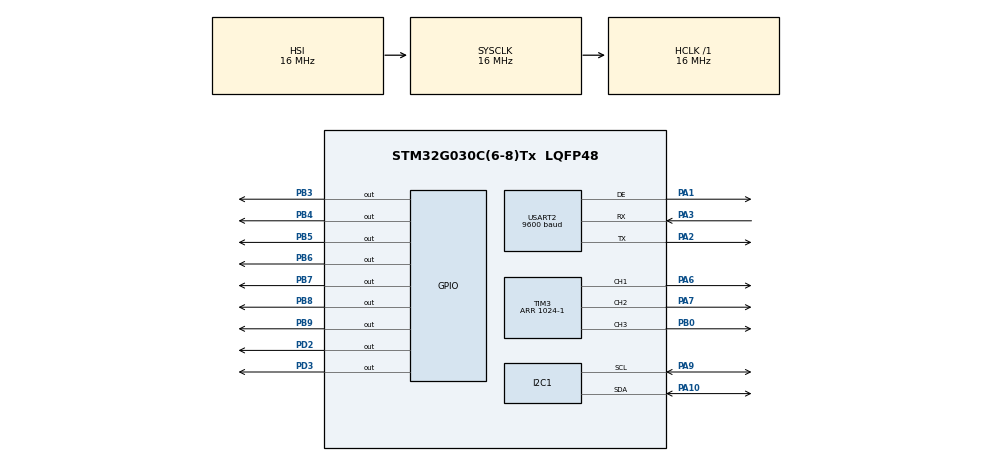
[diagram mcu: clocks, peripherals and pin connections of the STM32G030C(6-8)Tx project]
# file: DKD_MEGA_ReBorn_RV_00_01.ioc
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I2C1.Timing=0x00503D58
Mcu.Family=STM32G0
Mcu.Name=STM32G030C(6-8)Tx
Mcu.Package=LQFP48
NVIC.I2C1_IRQn=true\:0\:0\:false\:false\:true\:true\:true\:true
NVIC.TIM3_IRQn=true\:0\:0\:false\:false\:true\:true\:true\:true
NVIC.USART2_IRQn=true\:0\:0\:false\:false\:true\:true\:true\:true
PA1.Mode=Hardware Flow Control (RS485)
PA1.Signal=USART2_DE
PA10.Mode=I2C
PA10.Signal=I2C1_SDA
PA13.Mode=Serial_Wire
PA13.Signal=SYS_SWDIO
PA14-BOOT0.Mode=Serial_Wire
PA14-BOOT0.Signal=SYS_SWCLK
PA2.Mode=Asynchronous
PA2.Signal=USART2_TX
PA3.Mode=Asynchronous
PA3.Signal=USART2_RX
PA6.Signal=S_TIM3_CH1
PA7.Signal=S_TIM3_CH2
PA9.Mode=I2C
PA9.Signal=I2C1_SCL
PB0.Signal=S_TIM3_CH3
PB3.Signal=GPIO_Output
PB4.Signal=GPIO_Output
PB5.Signal=GPIO_Output
PB6.Signal=GPIO_Output
PB7.Signal=GPIO_Output
PB8.Signal=GPIO_Output
PB9.Signal=GPIO_Output
PD2.Signal=GPIO_Output
PD3.Signal=GPIO_Output
ProjectManager.HeapSize=0x200
ProjectManager.StackSize=0x400
ProjectManager.TargetToolchain=STM32CubeIDE
RCC.AHBFreq_Value=16000000
RCC.CortexFreq_Value=16000000
RCC.EXTERNAL_CLOCK_VALUE=12288000
RCC.HCLKFreq_Value=16000000
RCC.HSE_VALUE=8000000
RCC.HSI_VALUE=16000000
RCC.LSE_VALUE=32768
RCC.SYSCLKFreq_VALUE=16000000
RCC.VCOOutputFreq_Value=128000000
SH.S_TIM3_CH1.0=TIM3_CH1,PWM Generation1 CH1
SH.S_TIM3_CH2.0=TIM3_CH2,PWM Generation2 CH2
SH.S_TIM3_CH3.0=TIM3_CH3,PWM Generation3 CH3
TIM3.Channel-PWM\ Generation1\ CH1=TIM_CHANNEL_1
TIM3.Channel-PWM\ Generation2\ CH2=TIM_CHANNEL_2
TIM3.Channel-PWM\ Generation3\ CH3=TIM_CHANNEL_3
TIM3.Period=1024-1
TIM3.Pulse-PWM\ Generation1\ CH1=1024-1
TIM3.Pulse-PWM\ Generation2\ CH2=1024-1
TIM3.Pulse-PWM\ Generation3\ CH3=1024-1
USART2.BaudRate=9600
USART2.VirtualMode-Asynchronous=VM_ASYNC
USART2.VirtualMode-Hardware\ Flow\ Control\ (RS485)=VM_ASYNC
VP_TIM3_VS_ClockSourceINT.Mode=Internal
board=custom

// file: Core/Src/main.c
/* USER CODE BEGIN Header */
/**
 ******************************************************************************
 * @file           : main.c
 * @brief          : Main program body
 ******************************************************************************
 * @attention
 *
 * Copyright (c) 2025 STMicroelectronics.
 * All rights reserved.
 *
 * This software is licensed under terms that can be found in the LICENSE file
 * in the root directory of this software component.
 * If no LICENSE file comes with this software, it is provided AS-IS.
 *
 ******************************************************************************
 */
/* USER CODE END Header */
// #include "cmsis_os2.h"
#include "main.h"
#include "i2c.h"
#include "tim.h"
#include "usart.h"
#include "gpio.h"

/* USER CODE BEGIN Includes */
#include <stdio.h>
#include <math.h>
#include "my_struct.h"
// #include "Sen_AS7343.h"
#include "Sen_TCS34725.h"
#include "RGB_led.h"
#include "GUI_Comm.h"
#include "Pump.h"
#include "Memory.h"
#include "Std_hard_vals.h"
/* USER CODE END Includes */

/* USER CODE BEGIN PD */

#define ARC_CAL
// #define OLD_CAL

#define TM_MULTIPLIER 20

#define FLASH_OVER_WRITE
#define MEM_ID1 0xAA
#define MEM_ID2 0x55
/* USER CODE END PD */

/* USER CODE BEGIN PV */
sys_var_typdef sys_info;
union_bk_var_typdef save_sys_info;
double factor_value = 1.0; // Adjust this value as needed for calibration

/* USER CODE END PV */

void SystemClock_Config(void);
/* USER CODE BEGIN PFP */
void sys_mem_validate(void);
void auto_zero_adjust(unn_std_var_typdef *opt_std_vars);
// void value_calculation2(void);
// void value_calculation(void);
void cal_result(void);
void auto_set_adjust(void);
void PHOS_value_calculation2(unn_std_var_typdef *opt_std_vars);
void SUL_value_calculation1(unn_std_var_typdef *opt_std_vars);
void NIT_value_calculation1(unn_std_var_typdef *opt_std_vars);
void POT_value_calculation1(unn_std_var_typdef *opt_std_vars);
// void ZIN_value_calculation1(unn_std_var_typdef *opt_std_vars);

/* USER CODE END PFP */

/* USER CODE BEGIN 0 */
// drift% scaled by 100 (e.g., -377 = -3.77%) with rounding to nearest hundredth
static int16_t cal_drift_pct(uint16_t new_val, uint16_t old_val)
{
	int32_t delta = (int32_t)new_val - (int32_t)old_val;
	int32_t div = (int32_t)old_val;
	int32_t p = delta * 10000L;
	if (p >= 0)
	{
		p += div / 2;
	}
	else
	{
		p -= div / 2;
	}
	return (int16_t)(p / div);
}
/* USER CODE END 0 */

int main(void)
{

	/* MCU Configuration--------------------------------------------------------*/

	/* Reset of all peripherals, Initializes the Flash interface and the Systick. */
	HAL_Init();

	/* USER CODE BEGIN Init */
	//  osKernelInitialize();
	/* USER CODE END Init */

	/* Configure the system clock */
	SystemClock_Config();

	/* Initialize all configured peripherals */
	MX_GPIO_Init();		   // motors
	MX_I2C1_Init();		   // sensor
	MX_TIM3_Init();		   // led pwm
	MX_USART2_UART_Init(); // uart rs485
	/* USER CODE BEGIN 2 */
	// HAL_Delay(100);
	Flash_Read_Data(MEM_STRT_ADD, save_sys_info.bkdata, MEM_SIZE);
	sys_mem_validate();
	TCS3472X_init(&hi2c1);
	RGB_Led_init(&htim3);
	GUI_Comm_init(&huart2);
	pump1(0);
	pump2(0);
	pump3(0);
	pump4(0);
	pump5(0);
	pump6(0);
	pump7(0);
	pump8(0);
	motor1(0);
	// PUMP1OFF;PUMP2OFF;PUMP3OFF;PUMP4OFF;PUMP5OFF;PUMP6OFF;PUMP7OFF;
	// PUMP8OFF;MOTOR1OFF;//pump & motors
	set_Chnl_PWM(sys_info.led_pwm_red, sys_info.led_pwm_green, sys_info.led_pwm_blue);

	/* USER CODE END 2 */

	/* Infinite loop */
	/* USER CODE BEGIN WHILE */
	while (1)
	{
		if ((sys_info.sys_f.mem_save == 1) && (sys_info.sys_f.comm_mode == RCV_MODE))
		{
			Flash_Write_Data(MEM_STRT_ADD, save_sys_info.bkdata, MEM_SIZE);
			sys_info.sys_f.mem_save = 0;
		}
		TCS3472X_handler();
		get_sen_stat() ? (sys_info.Stat_L.sen_stat |= 1) : (sys_info.Stat_L.sen_stat &= 0);
		if (sys_info.Stat_L.sen_stat)
		{
			get_mavg_rgbc_val(&sys_info.curr_rgbc_vars.curr_red_rcv, &sys_info.curr_rgbc_vars.curr_green_rcv, &sys_info.curr_rgbc_vars.curr_blue_rcv, &sys_info.curr_rgbc_vars.curr_clear_rcv);
			if (!sys_info.Stat_L.warm_up_stat)
			{
				if (sys_info.Stat_M.tak_data_stat)
				{
					if (sys_info.tak_data_skp_run_tm >= sys_info.tak_data_skp_tm)
					{
						if ((!sys_info.curr_ResVal) && (!sys_info.curr_Result_cat))
						{
							cal_result();
						}
						// sys_info.Stat_L.drain_wsh_stat = 1; // this is for auto drain after result
						sys_info.Stat_M.tak_data_stat = 0;
						sys_info.Stat_L.alt_func = 0;
						sys_info.tak_data_skp_run_tm = 0;
					}
				}
				if (sys_info.Stat_L.auto_zero)
				{
					if (sys_info.auto_zero_skp_run_tm >= sys_info.auto_zero_skp_tm)
					{
#ifdef ARC_CAL
						if (sys_info.Stat_L.alt_func == 0)
						{
							auto_zero_adjust(&sys_info.opt_std_vars);
							auto_zero_adjust(&sys_info.opt_std_vars2);
						}
						else if (sys_info.Stat_L.alt_func == 1)
						{
						    auto_zero_adjust(&sys_info.opt_std_vars);       // normal
							auto_zero_adjust(&sys_info.opt_std_vars2);  // acidic
							sys_info.Stat_L.alt_func = 0;
						}
						// drift% = ((NEW standard - OLD saved standard) / OLD saved standard) * 100
						// NEW = opt_std_vars (overwritten by auto_zero_adjust with live readings)
						// OLD = hrd_std_vars (hard-coded saved, unchanged during auto-zero)
//						sys_info.rgbc_drift[0] = cal_drift_pct(sys_info.opt_std_vars.stan_0_red, save_sys_info.bk_var.hrd_std_vars.stan_0_red);
//						sys_info.rgbc_drift[1] = cal_drift_pct(sys_info.opt_std_vars.stan_0_green, save_sys_info.bk_var.hrd_std_vars.stan_0_green);
//						sys_info.rgbc_drift[2] = cal_drift_pct(sys_info.opt_std_vars.stan_0_blue, save_sys_info.bk_var.hrd_std_vars.stan_0_blue);
//						sys_info.rgbc_drift[3] = cal_drift_pct(sys_info.opt_std_vars.stan_0_clear, save_sys_info.bk_var.hrd_std_vars.stan_0_clear);
#endif
						sys_info.Stat_L.auto_zero_save = 1;
						sys_info.Stat_L.alt_func = 0;
						sys_info.Stat_L.auto_zero = 0;
						// sys_info.Stat_L.drain_wsh_stat = 1;
						sys_info.auto_zero_skp_run_tm = 0;
						sys_info.curr_ResVal = 0;
						sys_info.curr_Result_cat = 0;
					}
				}
				/*if(sys_info.Stat_M2.auto_set)
				{
					if(sys_info.auto_set_skp_run_tm >= sys_info.auto_set_skp_tm)
					{
						auto_set_adjust();
						//sys_info.Stat_L.drain_wsh_stat = 1;
						sys_info.Stat_M2.auto_set = 0;
						sys_info.auto_set_skp_run_tm = 0;
					}
				}*/
			}
			else
			{
				sys_info.Stat_M.tak_data_stat = 0;
				sys_info.Stat_L.auto_zero = 0;
			}
		}
		GUI_Comm_handler();
		pump_handler(); // command lestion from GUI_Comm_handler() and pump status update to sys_info.pump_stat

		/* USER CODE END WHILE */

	}
}

void SystemClock_Config(void)
{
	RCC_OscInitTypeDef RCC_OscInitStruct = {0};
	RCC_ClkInitTypeDef RCC_ClkInitStruct = {0};

	/** Configure the main internal regulator output voltage
	 */
	HAL_PWREx_ControlVoltageScaling(PWR_REGULATOR_VOLTAGE_SCALE1);

	/** Initializes the RCC Oscillators according to the specified parameters
	 * in the RCC_OscInitTypeDef structure.
	 */
	RCC_OscInitStruct.OscillatorType = RCC_OSCILLATORTYPE_HSI;
	RCC_OscInitStruct.HSIState = RCC_HSI_ON;
	RCC_OscInitStruct.HSIDiv = RCC_HSI_DIV1;
	RCC_OscInitStruct.HSICalibrationValue = RCC_HSICALIBRATION_DEFAULT;
	RCC_OscInitStruct.PLL.PLLState = RCC_PLL_NONE;
	if (HAL_RCC_OscConfig(&RCC_OscInitStruct) != HAL_OK)
	{
		Error_Handler();
	}

	/** Initializes the CPU, AHB and APB buses clocks
	 */
	RCC_ClkInitStruct.ClockType = RCC_CLOCKTYPE_HCLK | RCC_CLOCKTYPE_SYSCLK | RCC_CLOCKTYPE_PCLK1;
	RCC_ClkInitStruct.SYSCLKSource = RCC_SYSCLKSOURCE_HSI;
	RCC_ClkInitStruct.AHBCLKDivider = RCC_SYSCLK_DIV1;
	RCC_ClkInitStruct.APB1CLKDivider = RCC_HCLK_DIV1;

	if (HAL_RCC_ClockConfig(&RCC_ClkInitStruct, FLASH_LATENCY_0) != HAL_OK)
	{
		Error_Handler();
	}
}

/* USER CODE BEGIN 4 */

void auto_set_adjust(void)
{
	float factor;
	factor = (float)sys_info.curr_rgbc_vars.curr_red_rcv / (float)sys_info.opt_std_vars.stan_4_red;
	sys_info.opt_std_vars.stan_4_red = sys_info.curr_rgbc_vars.curr_red_rcv;
	for (uint8_t i = 1; i < NOS_STD; i++)
	{
		if (i == 4)
		{
			continue;
		}
		else
		{
			sys_info.opt_std_vars.strd_vars[i][0] =
				(uint16_t)(factor * (float)sys_info.opt_std_vars.strd_vars[i][0]);
		}
	}

	factor = (float)sys_info.curr_rgbc_vars.curr_green_rcv / (float)sys_info.opt_std_vars.stan_4_green;
	sys_info.opt_std_vars.stan_4_green = sys_info.curr_rgbc_vars.curr_green_rcv;
	for (uint8_t i = 1; i < NOS_STD; i++)
	{
		if (i == 4)
		{
			continue;
		}
		else
		{
			sys_info.opt_std_vars.strd_vars[i][1] =
				(uint16_t)(factor * (float)sys_info.opt_std_vars.strd_vars[i][1]);
		}
	}

	factor = (float)sys_info.curr_rgbc_vars.curr_blue_rcv / (float)sys_info.opt_std_vars.stan_4_blue;
	sys_info.opt_std_vars.stan_4_blue = sys_info.curr_rgbc_vars.curr_blue_rcv;
	for (uint8_t i = 1; i < NOS_STD; i++)
	{
		if (i == 4)
		{
			continue;
		}
		else
		{
			sys_info.opt_std_vars.strd_vars[i][2] =
				(uint16_t)(factor * (float)sys_info.opt_std_vars.strd_vars[i][2]);
		}
	}

	factor = (float)sys_info.curr_rgbc_vars.curr_clear_rcv / (float)sys_info.opt_std_vars.stan_4_clear;
	sys_info.opt_std_vars.stan_4_clear = sys_info.curr_rgbc_vars.curr_clear_rcv;
	for (uint8_t i = 1; i < NOS_STD; i++)
	{
		if (i == 4)
		{
			continue;
		}
		else
		{
			sys_info.opt_std_vars.strd_vars[i][3] =
				(uint16_t)(factor * (float)sys_info.opt_std_vars.strd_vars[i][3]);
		}
	}
}

void PHOS_value_calculation2(unn_std_var_typdef *opt_std_vars)
{
	// sys_info.curr_rgbc_vars.curr_red_rcv = 9901;
	// sys_info.curr_rgbc_vars.curr_green_rcv = 10660;
	// sys_info.curr_rgbc_vars.curr_blue_rcv = 13163;
	// sys_info.curr_rgbc_vars.curr_clear_rcv = 3172;

	sys_info.curr_absrb_val = log10(((double)opt_std_vars->strd_vars[0][sys_info.val_cal_y] * (double)sys_info.curr_rgbc_vars.curr_rgbc_var[sys_info.val_cal_x]) / ((double)opt_std_vars->strd_vars[0][sys_info.val_cal_x] * (double)sys_info.curr_rgbc_vars.curr_rgbc_var[sys_info.val_cal_y]));
	for (uint8_t i = 0; i < NOS_STD; i++)
	{
		sys_info.std_absrb_val[i] = log10(((double)opt_std_vars->strd_vars[0][sys_info.val_cal_y] * (double)opt_std_vars->strd_vars[i][sys_info.val_cal_x]) / ((double)opt_std_vars->strd_vars[0][sys_info.val_cal_x] * (double)opt_std_vars->strd_vars[i][sys_info.val_cal_y]));
	}
	// log10( ($G$8 * J12)/($F$8 *K12))

	if (sys_info.curr_absrb_val >= sys_info.std_absrb_val[0])
	{
		sys_info.curr_ResVal = 0;
		sys_info.curr_Result_cat = 1;
	}
	else if (sys_info.curr_absrb_val >= sys_info.std_absrb_val[1])
	{
		sys_info.curr_ResVal = ((sys_info.curr_absrb_val / sys_info.std_absrb_val[1]) * sys_info.act_stan_vals[1]);
		sys_info.curr_Result_cat = 1; //////////////VERRY LOW
	}
	else if (sys_info.curr_absrb_val >= sys_info.std_absrb_val[2])
	{
		sys_info.curr_ResVal = (((sys_info.curr_absrb_val - sys_info.std_absrb_val[1]) / (sys_info.std_absrb_val[2] - sys_info.std_absrb_val[1])) * (sys_info.act_stan_vals[2] - sys_info.act_stan_vals[1]) + sys_info.act_stan_vals[1]);
		sys_info.curr_Result_cat = 1; //////////////VERRY LOW
	}
	else if (sys_info.curr_absrb_val >= sys_info.std_absrb_val[3])
	{
		sys_info.curr_ResVal = (((sys_info.curr_absrb_val - sys_info.std_absrb_val[2]) / (sys_info.std_absrb_val[3] - sys_info.std_absrb_val[2])) * (sys_info.act_stan_vals[3] - sys_info.act_stan_vals[2]) + sys_info.act_stan_vals[2]);
		sys_info.curr_Result_cat = 2; //////////////LOW
	}
	else if (sys_info.curr_absrb_val >= sys_info.std_absrb_val[4])
	{
		sys_info.curr_ResVal = (((sys_info.curr_absrb_val - sys_info.std_absrb_val[3]) / (sys_info.std_absrb_val[4] - sys_info.std_absrb_val[3])) * (sys_info.act_stan_vals[4] - sys_info.act_stan_vals[3]) + sys_info.act_stan_vals[3]);
		sys_info.curr_Result_cat = 2; //////////////LOW
	}
	else if (sys_info.curr_absrb_val >= sys_info.std_absrb_val[5])
	{
		sys_info.curr_ResVal = (((sys_info.curr_absrb_val - sys_info.std_absrb_val[4]) / (sys_info.std_absrb_val[5] - sys_info.std_absrb_val[4])) * (sys_info.act_stan_vals[5] - sys_info.act_stan_vals[4]) + sys_info.act_stan_vals[4]);
		sys_info.curr_Result_cat = 3; //////////////Medium
	}
	else if (sys_info.curr_absrb_val >= sys_info.std_absrb_val[6])
	{
		sys_info.curr_ResVal = (((sys_info.curr_absrb_val - sys_info.std_absrb_val[5]) / (sys_info.std_absrb_val[6] - sys_info.std_absrb_val[5])) * (sys_info.act_stan_vals[6] - sys_info.act_stan_vals[5]) + sys_info.act_stan_vals[5]);
		sys_info.curr_Result_cat = 3; //////////////Medium
	}
	else if (sys_info.curr_absrb_val >= sys_info.std_absrb_val[7])
	{
		sys_info.curr_ResVal = (((sys_info.curr_absrb_val - sys_info.std_absrb_val[6]) / (sys_info.std_absrb_val[7] - sys_info.std_absrb_val[6])) * (sys_info.act_stan_vals[7] - sys_info.act_stan_vals[6]) + sys_info.act_stan_vals[6]);
		sys_info.curr_Result_cat = 4; //////////////High
	}
	else if (sys_info.curr_absrb_val >= sys_info.std_absrb_val[8])
	{
		sys_info.curr_ResVal = (((sys_info.curr_absrb_val - sys_info.std_absrb_val[7]) / (sys_info.std_absrb_val[8] - sys_info.std_absrb_val[7])) * (sys_info.act_stan_vals[8] - sys_info.act_stan_vals[7]) + sys_info.act_stan_vals[7]);
		sys_info.curr_Result_cat = 4; //////////////High
	}
	else if (sys_info.curr_absrb_val >= sys_info.std_absrb_val[9])
	{
		sys_info.curr_ResVal = (((sys_info.curr_absrb_val - sys_info.std_absrb_val[8]) / (sys_info.std_absrb_val[9] - sys_info.std_absrb_val[8])) * (sys_info.act_stan_vals[9] - sys_info.act_stan_vals[8]) + sys_info.act_stan_vals[8]);
		sys_info.curr_Result_cat = 5; //////////////Verry High
	}
	else if (sys_info.curr_absrb_val >= sys_info.std_absrb_val[10])
	{
		sys_info.curr_ResVal = (((sys_info.curr_absrb_val - sys_info.std_absrb_val[9]) / (sys_info.std_absrb_val[10] - sys_info.std_absrb_val[9])) * (sys_info.act_stan_vals[10] - sys_info.act_stan_vals[9]) + sys_info.act_stan_vals[9]);
		sys_info.curr_Result_cat = 5; //////////////Verry High
	}
	else if (sys_info.curr_absrb_val < sys_info.std_absrb_val[10])
	{
		sys_info.curr_ResVal = (sys_info.act_stan_vals[10] / sys_info.std_absrb_val[10]) * (sys_info.curr_absrb_val);
		sys_info.curr_Result_cat = 5; //////////////Verry High
									  // sys_info.curr_ResVal = sys_info.act_stan_vals[10];
		// sys_info.curr_Result_cat = 5;           //////////////Verry High
	}
}

void SUL_value_calculation1(unn_std_var_typdef *opt_std_vars)
{
	// uint32_t sum_x, sum_y, sum_xy, sum_xx;
	sys_info.sum_x = 0;
	sys_info.sum_y = 0;
	sys_info.sum_xy = 0;
	sys_info.sum_xx = 0;
	uint8_t i;
	for (i = 0; i < NOS_STD; i++)
	{
		sys_info.sum_x += opt_std_vars->strd_vars[i][sys_info.val_cal_x];
		sys_info.sum_y += opt_std_vars->strd_vars[i][sys_info.val_cal_y];
		sys_info.sum_xy += opt_std_vars->strd_vars[i][sys_info.val_cal_x] * opt_std_vars->strd_vars[i][sys_info.val_cal_y];
		sys_info.sum_xx += opt_std_vars->strd_vars[i][sys_info.val_cal_x] * opt_std_vars->strd_vars[i][sys_info.val_cal_x];
	}
	sys_info.mslp = (((double)NOS_STD * (double)sys_info.sum_xy) - ((double)sys_info.sum_x * (double)sys_info.sum_y)) / (((double)NOS_STD * (double)sys_info.sum_xx) - ((double)sys_info.sum_x * (double)sys_info.sum_x));

	sys_info.cshft = ((double)sys_info.sum_y - (sys_info.mslp * (double)sys_info.sum_x)) / NOS_STD;

	for (uint8_t i = 0; i < NOS_STD; i++)
	{
		sys_info.ref_stan_x[i] = ((sys_info.mslp * ((double)opt_std_vars->strd_vars[i][sys_info.val_cal_y] - sys_info.cshft)) + (double)opt_std_vars->strd_vars[i][sys_info.val_cal_x]) / ((sys_info.mslp * sys_info.mslp) + 1);
		sys_info.ref_stan_y[i] = (sys_info.mslp * sys_info.ref_stan_x[i]) + sys_info.cshft;
		sys_info.ref_stan_dist[i] = sqrt(((sys_info.ref_stan_x[0] - sys_info.ref_stan_x[i]) * (sys_info.ref_stan_x[0] - sys_info.ref_stan_x[i])) + ((sys_info.ref_stan_y[0] - sys_info.ref_stan_y[i]) * (sys_info.ref_stan_y[0] - sys_info.ref_stan_y[i])));
	}

	// sys_info.curr_red_rcv = 16174;
	// sys_info.curr_green_rcv = 12952;
	// sys_info.curr_blue_rcv = 14442;
	// sys_info.curr_clear_rcv = 45558;
	sys_info.curr_x = ((sys_info.mslp * ((double)sys_info.curr_rgbc_vars.curr_rgbc_var[sys_info.val_cal_y] - sys_info.cshft)) + (double)sys_info.curr_rgbc_vars.curr_rgbc_var[sys_info.val_cal_x]) / ((sys_info.mslp * sys_info.mslp) + 1);
	sys_info.curr_y = (sys_info.mslp * sys_info.curr_x) + sys_info.cshft;
	sys_info.curr_dist = sqrt(((sys_info.ref_stan_x[0] - sys_info.curr_x) * (sys_info.ref_stan_x[0] - sys_info.curr_x)) + ((sys_info.ref_stan_y[0] - sys_info.curr_y) * (sys_info.ref_stan_y[0] - sys_info.curr_y)));

	if (sys_info.curr_dist <= sys_info.ref_stan_dist[0])
	{
		sys_info.curr_ResVal = 0;
		sys_info.curr_Result_cat = 1;
	}
	else if (sys_info.curr_dist <= sys_info.ref_stan_dist[1])
	{
		sys_info.curr_ResVal = ((sys_info.curr_dist / sys_info.ref_stan_dist[1]) * sys_info.act_stan_vals[1]);
		sys_info.curr_Result_cat = 1; //////////////VERRY LOW
	}
	else if (sys_info.curr_dist <= sys_info.ref_stan_dist[2])
	{
		sys_info.curr_ResVal = (((sys_info.curr_dist - sys_info.ref_stan_dist[1]) / (sys_info.ref_stan_dist[2] - sys_info.ref_stan_dist[1])) * (sys_info.act_stan_vals[2] - sys_info.act_stan_vals[1]) + sys_info.act_stan_vals[1]);
		sys_info.curr_Result_cat = 1; //////////////VERRY LOW
	}
	else if (sys_info.curr_dist <= sys_info.ref_stan_dist[3])
	{
		sys_info.curr_ResVal = (((sys_info.curr_dist - sys_info.ref_stan_dist[2]) / (sys_info.ref_stan_dist[3] - sys_info.ref_stan_dist[2])) * (sys_info.act_stan_vals[3] - sys_info.act_stan_vals[2]) + sys_info.act_stan_vals[2]);
		sys_info.curr_Result_cat = 2; //////////////LOW
	}
	else if (sys_info.curr_dist <= sys_info.ref_stan_dist[4])
	{
		sys_info.curr_ResVal = (((sys_info.curr_dist - sys_info.ref_stan_dist[3]) / (sys_info.ref_stan_dist[4] - sys_info.ref_stan_dist[3])) * (sys_info.act_stan_vals[4] - sys_info.act_stan_vals[3]) + sys_info.act_stan_vals[3]);
		sys_info.curr_Result_cat = 2; //////////////LOW
	}
	else if (sys_info.curr_dist <= sys_info.ref_stan_dist[5])
	{
		sys_info.curr_ResVal = (((sys_info.curr_dist - sys_info.ref_stan_dist[4]) / (sys_info.ref_stan_dist[5] - sys_info.ref_stan_dist[4])) * (sys_info.act_stan_vals[5] - sys_info.act_stan_vals[4]) + sys_info.act_stan_vals[4]);
		sys_info.curr_Result_cat = 3; //////////////Medium
	}
	else if (sys_info.curr_dist <= sys_info.ref_stan_dist[6])
	{
		sys_info.curr_ResVal = (((sys_info.curr_dist - sys_info.ref_stan_dist[5]) / (sys_info.ref_stan_dist[6] - sys_info.ref_stan_dist[5])) * (sys_info.act_stan_vals[6] - sys_info.act_stan_vals[5]) + sys_info.act_stan_vals[5]);
		sys_info.curr_Result_cat = 3; //////////////Medium
	}
	else if (sys_info.curr_dist <= sys_info.ref_stan_dist[7])
	{
		sys_info.curr_ResVal = (((sys_info.curr_dist - sys_info.ref_stan_dist[6]) / (sys_info.ref_stan_dist[7] - sys_info.ref_stan_dist[6])) * (sys_info.act_stan_vals[7] - sys_info.act_stan_vals[6]) + sys_info.act_stan_vals[6]);
		sys_info.curr_Result_cat = 4; //////////////High
	}
	else if (sys_info.curr_dist <= sys_info.ref_stan_dist[8])
	{
		sys_info.curr_ResVal = (((sys_info.curr_dist - sys_info.ref_stan_dist[7]) / (sys_info.ref_stan_dist[8] - sys_info.ref_stan_dist[7])) * (sys_info.act_stan_vals[8] - sys_info.act_stan_vals[7]) + sys_info.act_stan_vals[7]);
		sys_info.curr_Result_cat = 4; //////////////High
	}
	else if (sys_info.curr_dist <= sys_info.ref_stan_dist[9])
	{
		sys_info.curr_ResVal = (((sys_info.curr_dist - sys_info.ref_stan_dist[8]) / (sys_info.ref_stan_dist[9] - sys_info.ref_stan_dist[8])) * (sys_info.act_stan_vals[9] - sys_info.act_stan_vals[8]) + sys_info.act_stan_vals[8]);
		sys_info.curr_Result_cat = 5; //////////////Verry High
	}
	else if (sys_info.curr_dist <= sys_info.ref_stan_dist[10])
	{
		sys_info.curr_ResVal = (((sys_info.curr_dist - sys_info.ref_stan_dist[9]) / (sys_info.ref_stan_dist[10] - sys_info.ref_stan_dist[9])) * (sys_info.act_stan_vals[10] - sys_info.act_stan_vals[9]) + sys_info.act_stan_vals[9]);
		sys_info.curr_Result_cat = 5; //////////////Verry High
	}
	else if (sys_info.curr_dist > sys_info.ref_stan_dist[10])
	{
		sys_info.curr_ResVal = ((sys_info.act_stan_vals[10] / sys_info.ref_stan_dist[10]) * (sys_info.curr_dist - sys_info.ref_stan_dist[10])) + sys_info.act_stan_vals[10];
		sys_info.curr_Result_cat = 5; //////////////Verry High
									  // sys_info.curr_ResVal = sys_info.act_stan_vals[10];
		// sys_info.curr_Result_cat = 5;           //////////////Verry High
	}
}

void NIT_value_calculation3(unn_std_var_typdef *opt_std_vars)
{

	double absrb0, absrb1, absrb2, absrb3, avg_absrb;
	double std_absrb_val_mul_sum, std_absrb_sqr_sum;
	std_absrb_val_mul_sum = 0;
	std_absrb_sqr_sum = 0;
	sys_info.std_multplr = 0;
	for (uint8_t i = 0; i < NOS_STD; i++)
	{
		absrb0 = log10((double)opt_std_vars->stan_0_red / (double)opt_std_vars->strd_vars[i][0]);
		absrb1 = log10((double)opt_std_vars->stan_0_green / (double)opt_std_vars->strd_vars[i][1]);
		absrb2 = log10((double)opt_std_vars->stan_0_blue / (double)opt_std_vars->strd_vars[i][2]);
		absrb3 = log10((double)opt_std_vars->stan_0_clear / (double)opt_std_vars->strd_vars[i][3]);
		avg_absrb = (absrb0 + absrb1 + absrb2 + absrb3) / 4.00;
		// sys_info.std_absrb_val_mul[i] = (avg_absrb * (double)sys_info.act_stan_vals[i]);
		// sys_info.std_absrb_sqr[i] = (avg_absrb * avg_absrb);
		std_absrb_val_mul_sum = std_absrb_val_mul_sum + (avg_absrb * (double)sys_info.act_stan_vals[i]);
		std_absrb_sqr_sum = std_absrb_sqr_sum + (avg_absrb * avg_absrb);
	}

	sys_info.std_multplr = std_absrb_val_mul_sum / std_absrb_sqr_sum; // constant factor

	absrb0 = log10((double)opt_std_vars->stan_0_red / (double)sys_info.curr_rgbc_vars.curr_red_rcv);
	absrb1 = log10((double)opt_std_vars->stan_0_green / (double)sys_info.curr_rgbc_vars.curr_green_rcv);
	absrb2 = log10((double)opt_std_vars->stan_0_blue / (double)sys_info.curr_rgbc_vars.curr_blue_rcv);
	absrb3 = log10((double)opt_std_vars->stan_0_clear / (double)sys_info.curr_rgbc_vars.curr_clear_rcv);
	avg_absrb = (absrb0 + absrb1 + absrb2 + absrb3) / 4;

	sys_info.curr_ResVal = avg_absrb * sys_info.std_multplr;

	if (sys_info.curr_ResVal <= sys_info.act_stan_vals[0])
	{
		sys_info.curr_ResVal = sys_info.act_stan_vals[0];
		sys_info.curr_Result_cat = 1;
	}
	else if (sys_info.curr_ResVal <= sys_info.act_stan_vals[1])
	{
		sys_info.curr_Result_cat = 1; //////////////VERRY LOW
	}
	else if (sys_info.curr_ResVal <= sys_info.act_stan_vals[2])
	{
		sys_info.curr_Result_cat = 1; //////////////VERRY LOW
	}
	else if (sys_info.curr_ResVal <= sys_info.act_stan_vals[3])
	{
		sys_info.curr_Result_cat = 2; //////////////LOW
	}
	else if (sys_info.curr_ResVal <= sys_info.act_stan_vals[4])
	{
		sys_info.curr_Result_cat = 2; //////////////LOW
	}
	else if (sys_info.curr_ResVal <= sys_info.act_stan_vals[5])
	{
		sys_info.curr_Result_cat = 3; //////////////Medium
	}
	else if (sys_info.curr_ResVal <= sys_info.act_stan_vals[6])
	{
		sys_info.curr_Result_cat = 3; //////////////Medium
	}
	else if (sys_info.curr_ResVal <= sys_info.act_stan_vals[7])
	{
		sys_info.curr_Result_cat = 4; //////////////High
	}
	else if (sys_info.curr_ResVal <= sys_info.act_stan_vals[8])
	{
		sys_info.curr_Result_cat = 4; //////////////High
	}
	else if (sys_info.curr_ResVal <= sys_info.act_stan_vals[9])
	{
		sys_info.curr_Result_cat = 5; //////////////Verry High
	}
	else if (sys_info.curr_ResVal <= sys_info.act_stan_vals[10])
	{
		sys_info.curr_Result_cat = 5; //////////////Verry High
	}
	else if (sys_info.curr_ResVal > sys_info.act_stan_vals[10])
	{
		sys_info.curr_Result_cat = 5; //////////////Verry High
									  // sys_info.curr_ResVal = sys_info.act_stan_vals[10];
		// sys_info.curr_Result_cat = 5;           //////////////Verry High
	}
}

/* noipa prevents GCC identical-code-folding from aliasing POT_value_calculation5 to NIT_value_calculation3 (identical algorithm duplicates) */
void __attribute__((noipa)) POT_value_calculation5(unn_std_var_typdef *opt_std_vars)
{

	double absrb0, absrb1, absrb2, absrb3, avg_absrb;
	double std_absrb_val_mul_sum, std_absrb_sqr_sum;
	std_absrb_val_mul_sum = 0;
	std_absrb_sqr_sum = 0;
	sys_info.std_multplr = 0;
	for (uint8_t i = 0; i < NOS_STD; i++)
	{                         //opt_std_vars->stan_0_red
		absrb0 = log10((double)opt_std_vars->stan_0_red / (double)opt_std_vars->strd_vars[i][0]);
		absrb1 = log10((double)opt_std_vars->stan_0_green / (double)opt_std_vars->strd_vars[i][1]);
		absrb2 = log10((double)opt_std_vars->stan_0_blue / (double)opt_std_vars->strd_vars[i][2]);
		absrb3 = log10((double)opt_std_vars->stan_0_clear / (double)opt_std_vars->strd_vars[i][3]);
		avg_absrb = (absrb0 + absrb1 + absrb2 + absrb3) / 4.00;
		// sys_info.std_absrb_val_mul[i] = (avg_absrb * (double)sys_info.act_stan_vals[i]);
		// sys_info.std_absrb_sqr[i] = (avg_absrb * avg_absrb);
		std_absrb_val_mul_sum = std_absrb_val_mul_sum + (avg_absrb * (double)sys_info.act_stan_vals[i]);
		std_absrb_sqr_sum = std_absrb_sqr_sum + (avg_absrb * avg_absrb);
	}

	sys_info.std_multplr = ((std_absrb_val_mul_sum / std_absrb_sqr_sum)*factor_value); // constant factor
//	sys_info.std_multplr = (std_absrb_val_mul_sum / std_absrb_sqr_sum);
	absrb0 = log10((double)opt_std_vars->stan_0_red / (double)sys_info.curr_rgbc_vars.curr_red_rcv);
	absrb1 = log10((double)opt_std_vars->stan_0_green / (double)sys_info.curr_rgbc_vars.curr_green_rcv);
	absrb2 = log10((double)opt_std_vars->stan_0_blue / (double)sys_info.curr_rgbc_vars.curr_blue_rcv);
	absrb3 = log10((double)opt_std_vars->stan_0_clear / (double)sys_info.curr_rgbc_vars.curr_clear_rcv);
	avg_absrb = (absrb0 + absrb1 + absrb2 + absrb3) / 4;

	sys_info.curr_ResVal = (avg_absrb * sys_info.std_multplr);
//	sys_info.curr_ResVal = (avg_absrb * sys_info.std_multplr);

	if (sys_info.curr_ResVal <= sys_info.act_stan_vals[0])
	{
		sys_info.curr_ResVal = sys_info.act_stan_vals[0];
		sys_info.curr_Result_cat = 1;
	}
	else if (sys_info.curr_ResVal <= sys_info.act_stan_vals[1])
	{
		sys_info.curr_Result_cat = 1; //////////////VERRY LOW
	}
	else if (sys_info.curr_ResVal <= sys_info.act_stan_vals[2])
	{
		sys_info.curr_Result_cat = 1; //////////////VERRY LOW
	}
	else if (sys_info.curr_ResVal <= sys_info.act_stan_vals[3])
	{
		sys_info.curr_Result_cat = 2; //////////////LOW
	}
	else if (sys_info.curr_ResVal <= sys_info.act_stan_vals[4])
	{
		sys_info.curr_Result_cat = 2; //////////////LOW
	}
	else if (sys_info.curr_ResVal <= sys_info.act_stan_vals[5])
	{
		sys_info.curr_Result_cat = 3; //////////////Medium
	}
	else if (sys_info.curr_ResVal <= sys_info.act_stan_vals[6])
	{
		sys_info.curr_Result_cat = 3; //////////////Medium
	}
	else if (sys_info.curr_ResVal <= sys_info.act_stan_vals[7])
	{
		sys_info.curr_Result_cat = 4; //////////////High
	}
	else if (sys_info.curr_ResVal <= sys_info.act_stan_vals[8])
	{
		sys_info.curr_Result_cat = 4; //////////////High
	}
	else if (sys_info.curr_ResVal <= sys_info.act_stan_vals[9])
	{
		sys_info.curr_Result_cat = 5; //////////////Verry High
	}
	else if (sys_info.curr_ResVal <= sys_info.act_stan_vals[10])
	{
		sys_info.curr_Result_cat = 5; //////////////Verry High
	}
	else if (sys_info.curr_ResVal > sys_info.act_stan_vals[10])
	{
		sys_info.curr_Result_cat = 5; //////////////Verry High
									  // sys_info.curr_ResVal = sys_info.act_stan_vals[10];
		// sys_info.curr_Result_cat = 5;           //////////////Verry High
	}
}

void MAG_value_calculation4(unn_std_var_typdef *opt_std_vars)
{
	sys_info.curr_ResVal = (((double)opt_std_vars->stan_0_red / (double)sys_info.curr_rgbc_vars.curr_red_rcv) * sys_info.act_stan_vals[0]);
	if (sys_info.curr_ResVal <= sys_info.act_stan_vals[0])
	{
		sys_info.curr_ResVal = sys_info.act_stan_vals[0];
		sys_info.curr_Result_cat = 1;
	}
	else if (sys_info.curr_ResVal <= sys_info.act_stan_vals[1])
	{
		sys_info.curr_Result_cat = 1; //////////////VERRY LOW
	}
	else if (sys_info.curr_ResVal <= sys_info.act_stan_vals[2])
	{
		sys_info.curr_Result_cat = 1; //////////////VERRY LOW
	}
	else if (sys_info.curr_ResVal <= sys_info.act_stan_vals[3])
	{
		sys_info.curr_Result_cat = 2; //////////////LOW
	}
	else if (sys_info.curr_ResVal <= sys_info.act_stan_vals[4])
	{
		sys_info.curr_Result_cat = 2; //////////////LOW
	}
	else if (sys_info.curr_ResVal <= sys_info.act_stan_vals[5])
	{
		sys_info.curr_Result_cat = 3; //////////////Medium
	}
	else if (sys_info.curr_ResVal <= sys_info.act_stan_vals[6])
	{
		sys_info.curr_Result_cat = 3; //////////////Medium
	}
	else if (sys_info.curr_ResVal <= sys_info.act_stan_vals[7])
	{
		sys_info.curr_Result_cat = 4; //////////////High
	}
	else if (sys_info.curr_ResVal <= sys_info.act_stan_vals[8])
	{
		sys_info.curr_Result_cat = 4; //////////////High
	}
	else if (sys_info.curr_ResVal <= sys_info.act_stan_vals[9])
	{
		sys_info.curr_Result_cat = 5; //////////////Verry High
	}
	else if (sys_info.curr_ResVal <= sys_info.act_stan_vals[10])
	{
		sys_info.curr_Result_cat = 5; //////////////Verry High
	}
	else if (sys_info.curr_ResVal > sys_info.act_stan_vals[10])
	{
		sys_info.curr_Result_cat = 5; //////////////Verry High
									  // sys_info.curr_ResVal = sys_info.act_stan_vals[10];
		// sys_info.curr_Result_cat = 5;           //////////////Verry High
	}
}

void BOR_value_calculation6(unn_std_var_typdef *opt_std_vars)
{
	sys_info.curr_ResVal = (((double)opt_std_vars->stan_0_green / (double)sys_info.curr_rgbc_vars.curr_green_rcv) * sys_info.act_stan_vals[0]);
	if (sys_info.curr_ResVal <= sys_info.act_stan_vals[0])
	{
		sys_info.curr_ResVal = sys_info.act_stan_vals[0];
		sys_info.curr_Result_cat = 1;
	}
	else if (sys_info.curr_ResVal <= sys_info.act_stan_vals[1])
	{
		sys_info.curr_Result_cat = 1; //////////////VERRY LOW
	}
	else if (sys_info.curr_ResVal <= sys_info.act_stan_vals[2])
	{
		sys_info.curr_Result_cat = 1; //////////////VERRY LOW
	}
	else if (sys_info.curr_ResVal <= sys_info.act_stan_vals[3])
	{
		sys_info.curr_Result_cat = 2; //////////////LOW
	}
	else if (sys_info.curr_ResVal <= sys_info.act_stan_vals[4])
	{
		sys_info.curr_Result_cat = 2; //////////////LOW
	}
	else if (sys_info.curr_ResVal <= sys_info.act_stan_vals[5])
	{
		sys_info.curr_Result_cat = 3; //////////////Medium
	}
	else if (sys_info.curr_ResVal <= sys_info.act_stan_vals[6])
	{
		sys_info.curr_Result_cat = 3; //////////////Medium
	}
	else if (sys_info.curr_ResVal <= sys_info.act_stan_vals[7])
	{
		sys_info.curr_Result_cat = 4; //////////////High
	}
	else if (sys_info.curr_ResVal <= sys_info.act_stan_vals[8])
	{
		sys_info.curr_Result_cat = 4; //////////////High
	}
	else if (sys_info.curr_ResVal <= sys_info.act_stan_vals[9])
	{
		sys_info.curr_Result_cat = 5; //////////////Verry High
	}
	else if (sys_info.curr_ResVal <= sys_info.act_stan_vals[10])
	{
		sys_info.curr_Result_cat = 5; //////////////Verry High
	}
	else if (sys_info.curr_ResVal > sys_info.act_stan_vals[10])
	{
		sys_info.curr_Result_cat = 5; //////////////Verry High
	     // sys_info.curr_ResVal = sys_info.act_stan_vals[10];
		// sys_info.curr_Result_cat = 5;           //////////////Verry High
	}
}

void cal_result(void)
{

#ifdef ARC_CAL

	if (sys_info.Stat_L.alt_func == 0)
	{
		switch (sys_info.set_sys_add)
		{
		case SULPHUR:
			SUL_value_calculation1(&sys_info.opt_std_vars);
//			POT_value_calculation5(&sys_info.opt_std_vars);
			break; // calibration done
		case PHOSPHORUS:
			PHOS_value_calculation2(&sys_info.opt_std_vars);
			break; // calibration done
		case NITROGEN:
			 NIT_value_calculation3(&sys_info.opt_std_vars);
			break; // calibration done
		case MAGNESIUM:
			MAG_value_calculation4(&sys_info.opt_std_vars);
			break; // pending calibration
		case POTASSIUM:
			POT_value_calculation5(&sys_info.opt_std_vars);   /* calculate potassium concentration using primary calibration standards */
			break; // testing calibration
		case BORON:
		    BOR_value_calculation6(&sys_info.opt_std_vars);
		    break;    // pending calibration
		default:
			// value_calculation1(&sys_info.opt_std_vars);
			// value_calculation(&sys_info.opt_std_vars);
			break;
		}
	}
	else if (sys_info.Stat_L.alt_func == 1)
	{
		switch (sys_info.set_sys_add)
		{
		case SULPHUR:
			SUL_value_calculation1(&sys_info.opt_std_vars2);
			break; // calibration done
		case PHOSPHORUS:
			PHOS_value_calculation2(&sys_info.opt_std_vars2);
			break; // calibration done
		case NITROGEN:
			NIT_value_calculation3(&sys_info.opt_std_vars2);
			break; // calibration done
		case MAGNESIUM:
			MAG_value_calculation4(&sys_info.opt_std_vars2);
			break; // pending calibration
		case POTASSIUM:
			/* POTASSIUM alternate path: alt_func==1, uses alternate (acidic) calibration data set (opt_std_vars2) */
			POT_value_calculation5(&sys_info.opt_std_vars2);  /* calculate potassium concentration using alternate calibration standards */
			break; // testing calibration
		case BORON:
		    BOR_value_calculation6(&sys_info.opt_std_vars2);
		     break;    // pending calibration
		default:
	///		 value_calculation1(&sys_info.opt_std_vars2);
			// value_calculation(&sys_info.opt_std_vars2);
			break;
		}
		sys_info.Stat_L.alt_func = 0;
	}
#endif
}

void auto_zero_adjust(unn_std_var_typdef *opt_std_vars)
{
	float factor;
	float factor1=0, factor2=0, factor3=0, factor4=0;
	float avrg_factor = 0;
                   //(sys_info.curr_rgbc_vars.curr_red_rcv
	factor = (float)sys_info.curr_rgbc_vars.curr_red_rcv / (float)opt_std_vars->stan_0_red;
	factor1 = factor;
	opt_std_vars->stan_0_red = sys_info.curr_rgbc_vars.curr_red_rcv;
	for (uint8_t i = 1; i < NOS_STD; i++)
	{
		opt_std_vars->strd_vars[i][0] =
			(uint16_t)(factor * (float)opt_std_vars->strd_vars[i][0]);

	}

	factor = (float)sys_info.curr_rgbc_vars.curr_green_rcv / (float)opt_std_vars->stan_0_green;
	factor2 = factor;
	opt_std_vars->stan_0_green = sys_info.curr_rgbc_vars.curr_green_rcv;
	for (uint8_t i = 1; i < NOS_STD; i++)
	{
		opt_std_vars->strd_vars[i][1] =
			(uint16_t)(factor * (float)opt_std_vars->strd_vars[i][1]);
	}

	factor = (float)sys_info.curr_rgbc_vars.curr_blue_rcv / (float)opt_std_vars->stan_0_blue;
	factor3 = factor;
	opt_std_vars->stan_0_blue = sys_info.curr_rgbc_vars.curr_blue_rcv;
	for (uint8_t i = 1; i < NOS_STD; i++)
	{
		opt_std_vars->strd_vars[i][2] =
			(uint16_t)(factor * (float)opt_std_vars->strd_vars[i][2]);
	}

	factor = (float)sys_info.curr_rgbc_vars.curr_clear_rcv / (float)opt_std_vars->stan_0_clear;
	factor4 = factor;
	opt_std_vars->stan_0_clear = sys_info.curr_rgbc_vars.curr_clear_rcv;
	for (uint8_t i = 1; i < NOS_STD; i++)
	{
		opt_std_vars->strd_vars[i][3] =
			(uint16_t)(factor * (float)opt_std_vars->strd_vars[i][3]);
	}
avrg_factor = (factor1 + factor2 + factor3 + factor4) / 4;

factor_value = avrg_factor;

}

int mem_fresh_check(void)
{
	if ((save_sys_info.bk_data[0] == MEM_ID1) && (save_sys_info.bk_data[0] == MEM_ID2))
	{
		return 0;
	}
	    return 1;
}

int sw_update(void)
{
	if ((save_sys_info.bk_var.maj_sw_rv_no != MAJ_SW_RV_NO) || (save_sys_info.bk_var.mid_sw_rv_no != MID_SW_RV_NO) || (save_sys_info.bk_var.min_sw_rv_no != MIN_SW_RV_NO))
	{
		return 1;
	}
	    return 0;
}

int validate_data(void)
{
	// sys_address check
	if (save_sys_info.bk_var.curr_sys_add != sys_info.set_sys_add)
	{
		return 1;
	}
	return 0;
}

void wrt_dflt(void)
{
	save_sys_info.bk_var.start_add1 = MEM_ID1;
	save_sys_info.bk_var.start_add2 = MEM_ID2;
	save_sys_info.bk_var.maj_sw_rv_no = MAJ_SW_RV_NO;
	save_sys_info.bk_var.mid_sw_rv_no = MID_SW_RV_NO;
	save_sys_info.bk_var.min_sw_rv_no = MIN_SW_RV_NO;
	save_sys_info.bk_var.curr_sys_add = sys_info.set_sys_add;
#ifdef ARC_CAL
	init_hrd_strd();
#endif

	save_sys_info.bk_var.end_add1 = 0x55;
	save_sys_info.bk_var.end_add2 = 0xAA;
}

void dflt_tm_set(void)
{
	save_sys_info.bk_var.chem_1a_in_tm = sys_info.chem_1a_qty * TM_MULTIPLIER; // time=qty x 20ms
	save_sys_info.bk_var.chem_1b_in_tm = sys_info.chem_1b_qty * TM_MULTIPLIER; // time=qty x 20ms
	save_sys_info.bk_var.chem_2c_in_tm = sys_info.chem_2c_qty * TM_MULTIPLIER; // time=qty x 20ms
	save_sys_info.bk_var.chem_3d_in_tm = sys_info.chem_3d_qty * TM_MULTIPLIER; // time=qty x 20ms
	save_sys_info.bk_var.chem_4e_in_tm = sys_info.chem_4e_qty * TM_MULTIPLIER; // time=qty x 20ms
	save_sys_info.bk_var.chem_5f_in_tm = sys_info.chem_5f_qty * TM_MULTIPLIER; // time=qty x 20ms
	save_sys_info.bk_var.wtr_g_in_tm = sys_info.wtr_g_qty * TM_MULTIPLIER;	   // time=qty x 20ms

	sys_info.sys_f.mem_save = 1;
}

void gpio_config_check(void)
{
	// gpio check
	//	sys_info.set_sys_add = MAGNESIUM;
	//	sys_info.set_sys_add = IRON;
	//	sys_info.set_sys_add = COPPER;
	//	sys_info.set_sys_add = ZINC;
	//	sys_info.set_sys_add = BORON;
//      sys_info.set_sys_add = SULPHUR;                  //DONE
   	    sys_info.set_sys_add = POTASSIUM;               // TESTING
//      sys_info.set_sys_add = PHOSPHORUS;             //DONE
//      sys_info.set_sys_add = NITROGEN;               // DONE
//		sys_info.set_sys_add = ORGANIC_CARBON;
}

void sys_mem_validate(void)
{
	// note:- we should not do mid program parameter change, if we do it will remain till machine "ON"
	gpio_config_check();

	if ((mem_fresh_check()) || (sw_update()) || (validate_data()))
	{
		wrt_dflt();
#ifdef ARC_CAL
		sys_var_init();
#endif
		dflt_tm_set();
	}
	else
	{
#ifdef ARC_CAL
		sys_var_init();
#endif
	}
}

void global_timer_100msec(void)
{
	if (sys_info.Stat_L.warm_up_stat)
	{ // manage warmup time
		sys_info.wrm_up_tm++;
		if (sys_info.wrm_up_tm >= WRM_UP_TM)
		{
			sys_info.Stat_L.warm_up_stat = 0;
			sys_info.wrm_up_tm = WRM_UP_TM;
		}
	}

	if (sys_info.Stat_L.sen_stat)
	{
		// manage take data skipp time
		if (sys_info.Stat_M.tak_data_stat)
		{
			sys_info.tak_data_skp_run_tm++;
			/*if(sys_info.tak_data_skp_run_tm >= sys_info.tak_data_skp_tm)
			{ sys_info.tak_data_skp_run_tm = sys_info.tak_data_skp_tm; }
			*/
		}

		// manage take data skipp time
		if (sys_info.Stat_L.auto_zero)
		{
			sys_info.auto_zero_skp_run_tm++;
			/*if(sys_info.auto_zero_skp_run_tm >= sys_info.auto_zero_skp_tm)
			{ sys_info.auto_zero_skp_run_tm = sys_info.auto_zero_skp_tm; }
			*/
		}

		// manage auto_set skipp time
		if (sys_info.Stat_M2.auto_set)
		{
			sys_info.auto_set_skp_run_tm++;
			/*if(sys_info.auto_set_skp_run_tm >= sys_info.auto_set_skp_tm)
			{ sys_info.auto_set_skp_run_tm = sys_info.auto_set_skp_tm; }
			*/
		}
	}
}

/* USER CODE END 4 */

void Error_Handler(void)
{
	__disable_irq();
	while (1)
	{
	}
}
